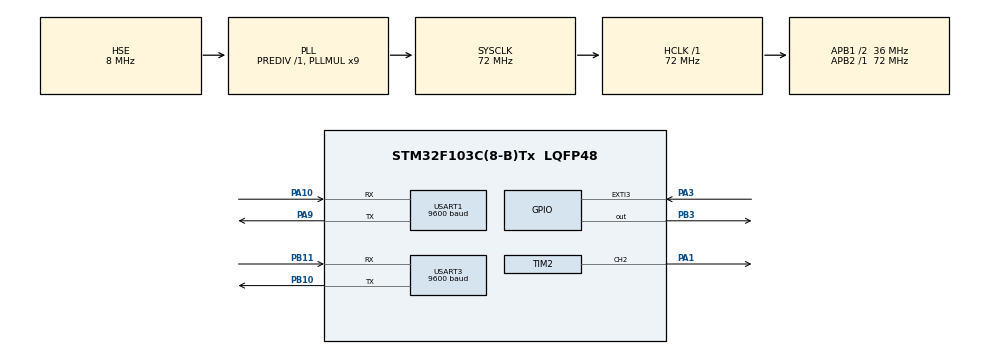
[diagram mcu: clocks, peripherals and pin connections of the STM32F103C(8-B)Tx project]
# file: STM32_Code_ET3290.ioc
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Mcu.Family=STM32F1
Mcu.Name=STM32F103C(8-B)Tx
Mcu.Package=LQFP48
NVIC.EXTI3_IRQn=true\:0\:0\:false\:false\:true\:true\:true\:true
NVIC.PriorityGroup=NVIC_PRIORITYGROUP_4
NVIC.USART1_IRQn=true\:0\:0\:false\:false\:true\:true\:true\:true
NVIC.USART3_IRQn=true\:0\:0\:false\:false\:true\:true\:true\:true
PA1.Signal=S_TIM2_CH2
PA10.Mode=Asynchronous
PA10.Signal=USART1_RX
PA13.Mode=Serial_Wire
PA13.Signal=SYS_JTMS-SWDIO
PA14.Mode=Serial_Wire
PA14.Signal=SYS_JTCK-SWCLK
PA3.GPIO_ModeDefaultEXTI=GPIO_MODE_IT_FALLING
PA3.GPIO_PuPd=GPIO_NOPULL
PA3.Signal=GPXTI3
PA9.Mode=Asynchronous
PA9.Signal=USART1_TX
PB10.Mode=Asynchronous
PB10.Signal=USART3_TX
PB11.Mode=Asynchronous
PB11.Signal=USART3_RX
PB3.Signal=GPIO_Output
PD0-OSC_IN.Mode=HSE-External-Oscillator
PD0-OSC_IN.Signal=RCC_OSC_IN
PD1-OSC_OUT.Mode=HSE-External-Oscillator
PD1-OSC_OUT.Signal=RCC_OSC_OUT
ProjectManager.HeapSize=0x200
ProjectManager.StackSize=0x400
ProjectManager.TargetToolchain=MDK-ARM V5.32
RCC.ADCPresc=RCC_ADCPCLK2_DIV6
RCC.AHBFreq_Value=72000000
RCC.APB1CLKDivider=RCC_HCLK_DIV2
RCC.APB1Freq_Value=36000000
RCC.APB1TimFreq_Value=72000000
RCC.APB2Freq_Value=72000000
RCC.APB2TimFreq_Value=72000000
RCC.HCLKFreq_Value=72000000
RCC.PLLMUL=RCC_PLL_MUL9
RCC.PLLSourceVirtual=RCC_PLLSOURCE_HSE
RCC.SYSCLKFreq_VALUE=72000000
RCC.SYSCLKSource=RCC_SYSCLKSOURCE_PLLCLK
RCC.USBFreq_Value=72000000
SH.S_TIM2_CH2.0=TIM2_CH2,PWM Generation2 CH2
TIM2.AutoReloadPreload=TIM_AUTORELOAD_PRELOAD_ENABLE
TIM2.Channel-PWM\ Generation2\ CH2=TIM_CHANNEL_2
TIM2.Period=1894
TIM2.Prescaler=1
TIM2.Pulse-PWM\ Generation2\ CH2=947
USART1.BaudRate=9600
USART1.VirtualMode=VM_ASYNC
USART3.BaudRate=9600
USART3.VirtualMode=VM_ASYNC
board=custom

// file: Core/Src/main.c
/* USER CODE BEGIN Header */
	/**
		******************************************************************************
		* @file           : main.c
		* @brief          : Main program body
		******************************************************************************
		* @attention
		*
		* Copyright (c) 2025 STMicroelectronics.
		* All rights reserved.
		*
		* This software is licensed under terms that can be found in the LICENSE file
		* in the root directory of this software component.
		* If no LICENSE file comes with this software, it is provided AS-IS.
		*
		******************************************************************************
		*/
/* USER CODE END Header */
#include "main.h"

/* USER CODE BEGIN Includes */
	#include <stdio.h>
	#include <string.h>
	volatile int count_drops = 0;
/* USER CODE END Includes */

/* USER CODE BEGIN PTD */
	char uart_rx_buffer[2]; // b? d?m nh?n l?nh
	volatile uint8_t is_counting = 1; // tr?ng th�i d?m hay kh�ng
/* USER CODE END PTD */

TIM_HandleTypeDef htim2;

UART_HandleTypeDef huart1;
UART_HandleTypeDef huart3;

void SystemClock_Config(void);
static void MX_GPIO_Init(void);
static void MX_TIM2_Init(void);
static void MX_USART1_UART_Init(void);
static void MX_USART3_UART_Init(void);
/* USER CODE BEGIN PFP */
	uint32_t last_interrupt_time = 0;
/* USER CODE END PFP */

/* USER CODE BEGIN 0 */

	void HAL_GPIO_EXTI_Callback(uint16_t GPIO_Pin)
	{
			if (GPIO_Pin == GPIO_PIN_3)
			{
					uint32_t now = HAL_GetTick();
					if (now - last_interrupt_time > 120)
					{
							last_interrupt_time = now;
							count_drops++;
							HAL_GPIO_TogglePin(GPIOB, GPIO_PIN_3);
							char buffer[20];
							sprintf(buffer, "%d\r\n", count_drops);
							HAL_UART_Transmit(&huart1, (uint8_t*)buffer, strlen(buffer), 10);
					}
			}
	}

/* USER CODE END 0 */

int main(void)
{

  /* MCU Configuration--------------------------------------------------------*/

  /* Reset of all peripherals, Initializes the Flash interface and the Systick. */
  HAL_Init();

  /* USER CODE BEGIN Init */
		/* Reset of all peripherals, Initializes the Flash interface and the Systick. */
		HAL_Init();

  /* USER CODE END Init */

  /* Configure the system clock */
  SystemClock_Config();

  /* Initialize all configured peripherals */
  MX_GPIO_Init();
  MX_TIM2_Init();
  MX_USART1_UART_Init();
  MX_USART3_UART_Init();
  /* USER CODE BEGIN 2 */
	HAL_UART_Receive_IT(&huart1, (uint8_t*)uart_rx_buffer, 1);
  /* USER CODE END 2 */

  /* Infinite loop */
  /* USER CODE BEGIN WHILE */
		HAL_TIM_PWM_Start(&htim2,TIM_CHANNEL_2);
		while (1)
		{
    /* USER CODE END WHILE */

		}
}

void SystemClock_Config(void)
{
  RCC_OscInitTypeDef RCC_OscInitStruct = {0};
  RCC_ClkInitTypeDef RCC_ClkInitStruct = {0};

  /** Initializes the RCC Oscillators according to the specified parameters
  * in the RCC_OscInitTypeDef structure.
  */
  RCC_OscInitStruct.OscillatorType = RCC_OSCILLATORTYPE_HSE;
  RCC_OscInitStruct.HSEState = RCC_HSE_ON;
  RCC_OscInitStruct.HSEPredivValue = RCC_HSE_PREDIV_DIV1;
  RCC_OscInitStruct.HSIState = RCC_HSI_ON;
  RCC_OscInitStruct.PLL.PLLState = RCC_PLL_ON;
  RCC_OscInitStruct.PLL.PLLSource = RCC_PLLSOURCE_HSE;
  RCC_OscInitStruct.PLL.PLLMUL = RCC_PLL_MUL9;
  if (HAL_RCC_OscConfig(&RCC_OscInitStruct) != HAL_OK)
  {
    Error_Handler();
  }

  /** Initializes the CPU, AHB and APB buses clocks
  */
  RCC_ClkInitStruct.ClockType = RCC_CLOCKTYPE_HCLK|RCC_CLOCKTYPE_SYSCLK
                              |RCC_CLOCKTYPE_PCLK1|RCC_CLOCKTYPE_PCLK2;
  RCC_ClkInitStruct.SYSCLKSource = RCC_SYSCLKSOURCE_PLLCLK;
  RCC_ClkInitStruct.AHBCLKDivider = RCC_SYSCLK_DIV1;
  RCC_ClkInitStruct.APB1CLKDivider = RCC_HCLK_DIV2;
  RCC_ClkInitStruct.APB2CLKDivider = RCC_HCLK_DIV1;

  if (HAL_RCC_ClockConfig(&RCC_ClkInitStruct, FLASH_LATENCY_2) != HAL_OK)
  {
    Error_Handler();
  }
}

static void MX_TIM2_Init(void)
{

  TIM_MasterConfigTypeDef sMasterConfig = {0};
  TIM_OC_InitTypeDef sConfigOC = {0};

  htim2.Instance = TIM2;
  htim2.Init.Prescaler = 1;
  htim2.Init.CounterMode = TIM_COUNTERMODE_UP;
  htim2.Init.Period = 1894;
  htim2.Init.ClockDivision = TIM_CLOCKDIVISION_DIV1;
  htim2.Init.AutoReloadPreload = TIM_AUTORELOAD_PRELOAD_ENABLE;
  if (HAL_TIM_PWM_Init(&htim2) != HAL_OK)
  {
    Error_Handler();
  }
  sMasterConfig.MasterOutputTrigger = TIM_TRGO_RESET;
  sMasterConfig.MasterSlaveMode = TIM_MASTERSLAVEMODE_DISABLE;
  if (HAL_TIMEx_MasterConfigSynchronization(&htim2, &sMasterConfig) != HAL_OK)
  {
    Error_Handler();
  }
  sConfigOC.OCMode = TIM_OCMODE_PWM1;
  sConfigOC.Pulse = 947;
  sConfigOC.OCPolarity = TIM_OCPOLARITY_HIGH;
  sConfigOC.OCFastMode = TIM_OCFAST_DISABLE;
  if (HAL_TIM_PWM_ConfigChannel(&htim2, &sConfigOC, TIM_CHANNEL_2) != HAL_OK)
  {
    Error_Handler();
  }
  HAL_TIM_MspPostInit(&htim2);

}

static void MX_USART1_UART_Init(void)
{

  huart1.Instance = USART1;
  huart1.Init.BaudRate = 9600;
  huart1.Init.WordLength = UART_WORDLENGTH_8B;
  huart1.Init.StopBits = UART_STOPBITS_1;
  huart1.Init.Parity = UART_PARITY_NONE;
  huart1.Init.Mode = UART_MODE_TX_RX;
  huart1.Init.HwFlowCtl = UART_HWCONTROL_NONE;
  huart1.Init.OverSampling = UART_OVERSAMPLING_16;
  if (HAL_UART_Init(&huart1) != HAL_OK)
  {
    Error_Handler();
  }

}

static void MX_USART3_UART_Init(void)
{

  huart3.Instance = USART3;
  huart3.Init.BaudRate = 9600;
  huart3.Init.WordLength = UART_WORDLENGTH_8B;
  huart3.Init.StopBits = UART_STOPBITS_1;
  huart3.Init.Parity = UART_PARITY_NONE;
  huart3.Init.Mode = UART_MODE_TX_RX;
  huart3.Init.HwFlowCtl = UART_HWCONTROL_NONE;
  huart3.Init.OverSampling = UART_OVERSAMPLING_16;
  if (HAL_UART_Init(&huart3) != HAL_OK)
  {
    Error_Handler();
  }

}

static void MX_GPIO_Init(void)
{
  GPIO_InitTypeDef GPIO_InitStruct = {0};

  /* GPIO Ports Clock Enable */
  __HAL_RCC_GPIOD_CLK_ENABLE();
  __HAL_RCC_GPIOA_CLK_ENABLE();
  __HAL_RCC_GPIOB_CLK_ENABLE();

  /*Configure GPIO pin Output Level */
  HAL_GPIO_WritePin(GPIOB, GPIO_PIN_3, GPIO_PIN_RESET);

  /*Configure GPIO pin : PA3 */
  GPIO_InitStruct.Pin = GPIO_PIN_3;
  GPIO_InitStruct.Mode = GPIO_MODE_IT_FALLING;
  GPIO_InitStruct.Pull = GPIO_NOPULL;
  HAL_GPIO_Init(GPIOA, &GPIO_InitStruct);

  /*Configure GPIO pin : PB3 */
  GPIO_InitStruct.Pin = GPIO_PIN_3;
  GPIO_InitStruct.Mode = GPIO_MODE_OUTPUT_PP;
  GPIO_InitStruct.Pull = GPIO_NOPULL;
  GPIO_InitStruct.Speed = GPIO_SPEED_FREQ_LOW;
  HAL_GPIO_Init(GPIOB, &GPIO_InitStruct);

  /* EXTI interrupt init*/
  HAL_NVIC_SetPriority(EXTI3_IRQn, 0, 0);
  HAL_NVIC_EnableIRQ(EXTI3_IRQn);

}

void Error_Handler(void)
{
		__disable_irq();
		while (1)
		{
		}
}
